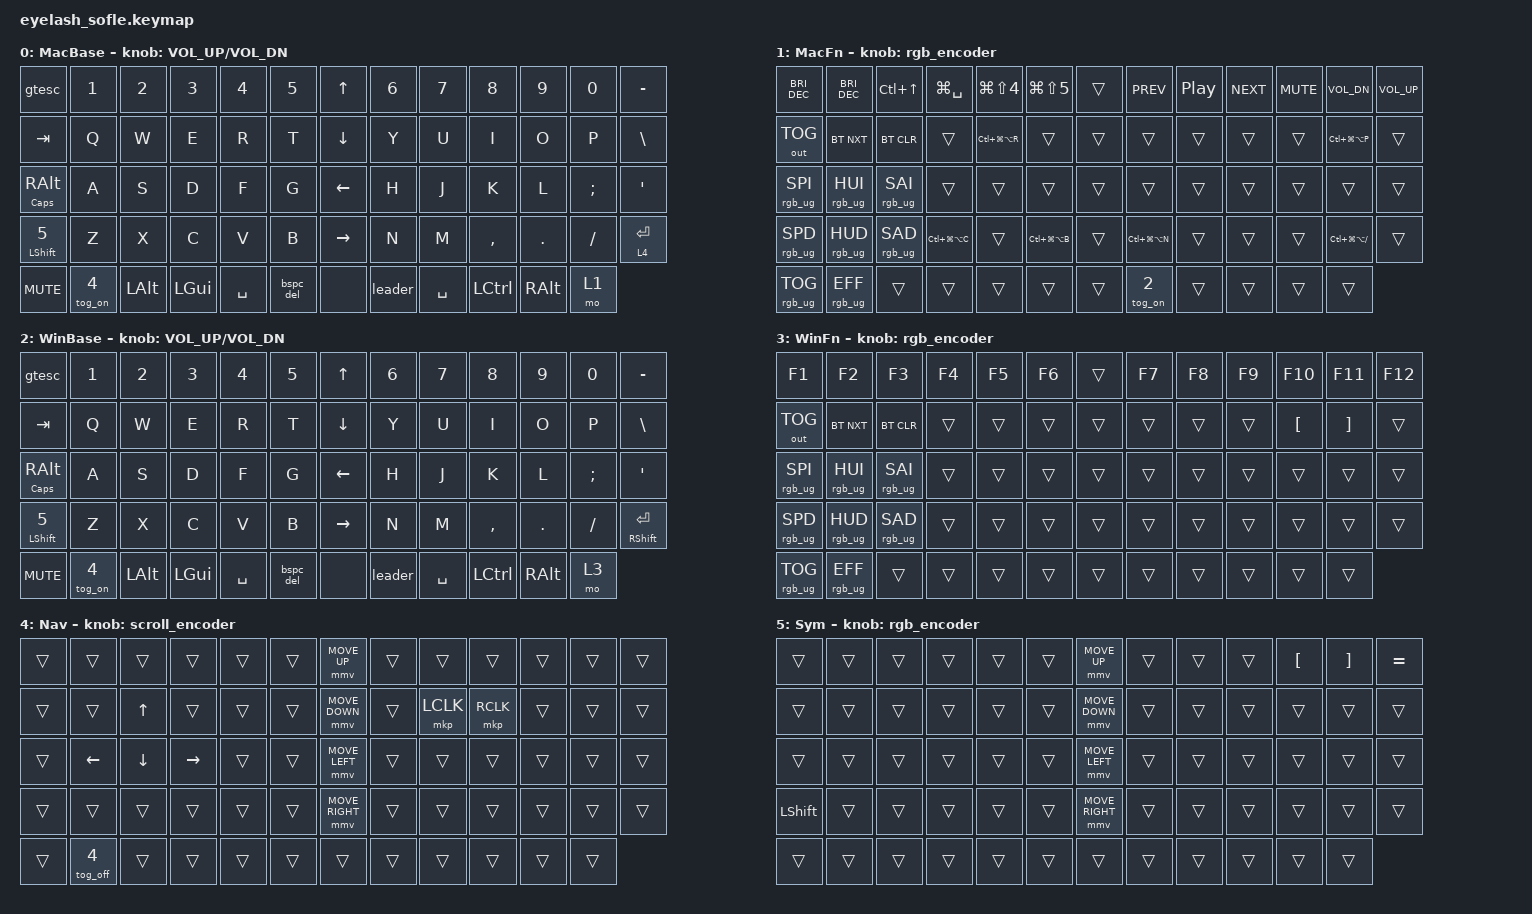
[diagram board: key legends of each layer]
#define ZMK_POINTING_DEFAULT_MOVE_VAL 1200  // 600
#define ZMK_POINTING_DEFAULT_SCRL_VAL 25   // 10

#include <input/processors.dtsi>
#include <zephyr/dt-bindings/input/input-event-codes.h>
#include <behaviors.dtsi>
#include <dt-bindings/zmk/bt.h>
#include <dt-bindings/zmk/keys.h>
#include <dt-bindings/zmk/rgb.h>
#include <dt-bindings/zmk/pointing.h>
#include <dt-bindings/zmk/outputs.h>

#define AS(keycode) &as LS(keycode) keycode     // Autoshift Macro

&mmv_input_listener { input-processors = <&zip_xy_scaler 2 1>; };

&msc_input_listener { input-processors = <&zip_scroll_scaler 2 1>; };

&msc {
    acceleration-exponent = <1>;      // 0
    time-to-max-speed-ms = <100>;       // 300
    delay-ms = <0>;                   // 0
};

&mmv {
    time-to-max-speed-ms = <1000>;
    acceleration-exponent = <1>;
    trigger-period-ms = <16>;
};

/ {
    scroll_encoder: scroll_encoder {
        compatible = "zmk,behavior-sensor-rotate";
        #sensor-binding-cells = <0>;
        bindings = <&msc SCRL_DOWN>, <&msc SCRL_UP>;
        tap-ms = <100>;
    };

    rgb_encoder: rgb_encoder {
            compatible = "zmk,behavior-sensor-rotate";
            #sensor-binding-cells = <0>;
            bindings = <&rgb_ug RGB_BRI>, <&rgb_ug RGB_BRD>;
    };

    macros {
        leader: snippet_leader {
            compatible = "zmk,behavior-macro";
            #binding-cells = <0>;
            tap-ms = <1>;
            wait-ms = <1>;
            bindings = <&macro_tap &kp LC(LG(LA(SPACE))) &kp LC(LG(LS(RBKT)))>;
        };
        leader_alt: snippet_leader_alternative {
            compatible = "zmk,behavior-macro";
            #binding-cells = <0>;
            tap-ms = <1>;
            wait-ms = <1>;
            bindings = <&macro_tap &kp LC(LG(LA(SPACE))) &kp LC(LG(LS(LA(RBKT))))>;
        };
    };

    combos {
        compatible = "zmk,combos";
        combo_enter {
            timeout-ms = <200>;
            key-positions = <56 60>;
            bindings = <&kp ENTER>;
        };
        combo_leader_alternative {
            timeout-ms = <200>;
            key-positions = <57 59>;
            bindings = <&leader_alt>;
        };
        combo_vivaldi {
            timeout-ms = <150>;
            key-positions = <62 63>;
            bindings = <&kp LG(LALT)>;
        };
        combo_left_rectangle {
            timeout-ms = <150>;
            key-positions = <53 54>;
            bindings = <&kp LC(LALT)>;
        };
        combo_lbkt {
            timeout-ms = <150>;
            key-positions = <9 10>;
            bindings = <&kp LBKT>;
        };
        combo_win {
            timeout-ms = <150>;
            key-positions = <53 63>;
            bindings = <&tog_on 2>;
            layers = <0>;
        };
        combo_mac {
            timeout-ms = <150>;
            key-positions = <53 63>;
            bindings = <&tog_off 2>;
            layers = <2>;
        };
    };

    behaviors {
        as: auto_shift {
            compatible = "zmk,behavior-hold-tap";
            #binding-cells = <2>;
            tapping_term_ms = <275>;
            quick_tap_ms = <0>;
            flavor = "tap-preferred";
            bindings = <&kp>, <&kp>;
        };

        mta: mod_tap_alternative {
            compatible = "zmk,behavior-hold-tap";
            #binding-cells = <2>;
            tapping_term_ms = <250>;
            quick_tap_ms = <0>;
            flavor = "tap-preferred";
            bindings = <&kp>, <&kp>;
        };

        lta: layer_tap_alternative {
            compatible = "zmk,behavior-hold-tap";
            #binding-cells = <2>;
            flavor = "hold-preferred";
            tapping-term-ms = <200>;
            bindings = <&mo>, <&kp>;
            display-name = "Layer-Tap-Alt";
        };

        lts: layer_tap_sticky {
            compatible = "zmk,behavior-hold-tap";
            #binding-cells = <2>;
            flavor = "hold-preferred";
            tapping-term-ms = <200>;
            bindings = <&kp>, <&slq>;
            display-name = "Layer-Tap";
        };

        slq: sticky_layer_non_quick_release {
            compatible = "zmk,behavior-sticky-key";
            #binding-cells = <1>;
            bindings = <&mo>;
            release-after-ms = <1000>;
            ignore-modifiers;
          };

        gtesc: grave_tilde_escape {
            compatible = "zmk,behavior-mod-morph";
            #binding-cells = <0>;
            bindings = <&kp ESC>, <&kp GRAVE>;
            mods = <(MOD_LGUI|MOD_LALT|MOD_LSFT|MOD_RGUI|MOD_RALT|MOD_RSFT)>;
            keep-mods = <(MOD_LSFT|MOD_RSFT)>;
        };

        bspc_del: backspace_delete {
            compatible = "zmk,behavior-mod-morph";
            #binding-cells = <0>;
            bindings = <&kp BACKSPACE>, <&kp DELETE>;
            mods = <(MOD_LALT|MOD_LSFT|MOD_RALT|MOD_RSFT)>;
        };

        tog_on: toggle_layer_on_only {
            compatible = "zmk,behavior-toggle-layer";
            #binding-cells = <1>;
            display-name = "Toggle Layer On";
            toggle-mode = "on";
        };

        tog_off: toggle_layer_off_only {
            compatible = "zmk,behavior-toggle-layer";
            #binding-cells = <1>;
            display-name = "Toggle Layer Off";
            toggle-mode = "off";
        };
    };

    keymap {
        compatible = "zmk,keymap";

        MacBase {
            bindings = <
&gtesc          &kp N1     &kp N2        &kp N3        &kp N4     &kp N5     &kp UP_ARROW     &kp N6   &kp N7     &kp N8     &kp N9    &kp N0    &kp MINUS
&kp TAB         &kp Q      &kp W         &kp E         &kp R      &kp T      &kp DOWN_ARROW   &kp Y    &kp U      &kp I      &kp O     &kp P     &kp BACKSLASH
&mta CAPS RALT  &kp A      &kp S         &kp D         &kp F      &kp G      &kp LEFT_ARROW   &kp H    &kp J      &kp K      &kp L     &kp SEMI  &kp APOS
&lts LSHFT 5    &kp Z      &kp X         &kp C         &kp V      &kp B      &kp RIGHT_ARROW  &kp N    &kp M      &kp COMMA  &kp DOT   &kp FSLH  &lta 4 ENTER
&kp C_MUTE      &tog_on 4  &kp LEFT_ALT  &kp LEFT_GUI  &kp SPACE  &bspc_del  &none            &leader  &kp SPACE  &kp LCTRL  &kp RALT  &mo 1
            >;

            sensor-bindings = <&inc_dec_kp C_VOLUME_UP C_VOL_DN>;
            display-name = "MacBase";
        };

        MacFn {
            bindings = <
&kp C_BRI_DEC    &kp C_BRI_DEC    &kp LC(UP)       &kp LG(SPACE)      &kp LG(LS(N4))     &kp LG(LS(N5))     &trans  &kp C_PREV         &kp C_PP  &kp C_NEXT  &kp C_MUTE  &kp C_VOL_DN          &kp C_VOL_UP
&out OUT_TOG     &bt BT_NXT       &bt BT_CLR       &trans             &kp LC(LG(LA(R)))  &trans             &trans  &trans             &trans    &trans      &trans      &kp LC(LG(LA(P)))     &trans
&rgb_ug RGB_SPI  &rgb_ug RGB_HUI  &rgb_ug RGB_SAI  &trans             &trans             &trans             &trans  &trans             &trans    &trans      &trans      &trans                &trans
&rgb_ug RGB_SPD  &rgb_ug RGB_HUD  &rgb_ug RGB_SAD  &kp LC(LG(LA(C)))  &trans             &kp LC(LG(LA(B)))  &trans  &kp LC(LG(LA(N)))  &trans    &trans      &trans      &kp LC(LG(LA(FSLH)))  &trans
&rgb_ug RGB_TOG  &rgb_ug RGB_EFF  &trans           &trans             &trans             &trans             &trans  &tog_on 2          &trans    &trans      &trans      &trans
            >;
            sensor-bindings = <&rgb_encoder>;
            display-name = "MacFn";
        };

        WinBase {
            bindings = <
&gtesc          &kp N1     &kp N2        &kp N3        &kp N4     &kp N5     &kp UP_ARROW     &kp N6   &kp N7     &kp N8     &kp N9    &kp N0    &kp MINUS
&kp TAB         &kp Q      &kp W         &kp E         &kp R      &kp T      &kp DOWN_ARROW   &kp Y    &kp U      &kp I      &kp O     &kp P     &kp BACKSLASH
&mta CAPS RALT  &kp A      &kp S         &kp D         &kp F      &kp G      &kp LEFT_ARROW   &kp H    &kp J      &kp K      &kp L     &kp SEMI  &kp APOS
&lts LSHFT 5    &kp Z      &kp X         &kp C         &kp V      &kp B      &kp RIGHT_ARROW  &kp N    &kp M      &kp COMMA  &kp DOT   &kp FSLH  &mt RSHFT ENTER
&kp C_MUTE      &tog_on 4  &kp LEFT_ALT  &kp LEFT_GUI  &kp SPACE  &bspc_del  &none            &leader  &kp SPACE  &kp LCTRL  &kp RALT  &mo 3
            >;

            sensor-bindings = <&inc_dec_kp C_VOLUME_UP C_VOL_DN>;
            display-name = "WinBase";
        };

        WinFn {
            bindings = <
&kp F1           &kp F2           &kp F3           &kp F4  &kp F5  &kp F6  &trans  &kp F7  &kp F8  &kp F9  &kp F10   &kp F11   &kp F12
&out OUT_TOG     &bt BT_NXT       &bt BT_CLR       &trans  &trans  &trans  &trans  &trans  &trans  &trans  &kp LBKT  &kp RBKT  &trans
&rgb_ug RGB_SPI  &rgb_ug RGB_HUI  &rgb_ug RGB_SAI  &trans  &trans  &trans  &trans  &trans  &trans  &trans  &trans    &trans    &trans
&rgb_ug RGB_SPD  &rgb_ug RGB_HUD  &rgb_ug RGB_SAD  &trans  &trans  &trans  &trans  &trans  &trans  &trans  &trans    &trans    &trans
&rgb_ug RGB_TOG  &rgb_ug RGB_EFF  &trans           &trans  &trans  &trans  &trans  &trans  &trans  &trans  &trans    &trans
            >;
            sensor-bindings = <&rgb_encoder>;
            display-name = "WinFn";
        };

        Navigation {
            bindings = <
&trans  &trans          &trans          &trans           &trans  &trans  &mmv MOVE_UP     &trans  &trans     &trans     &trans  &trans  &trans
&trans  &trans          &kp UP_ARROW    &trans           &trans  &trans  &mmv MOVE_DOWN   &trans  &mkp LCLK  &mkp RCLK  &trans  &trans  &trans
&trans  &kp LEFT_ARROW  &kp DOWN_ARROW  &kp RIGHT_ARROW  &trans  &trans  &mmv MOVE_LEFT   &trans  &trans     &trans     &trans  &trans  &trans
&trans  &trans          &trans          &trans           &trans  &trans  &mmv MOVE_RIGHT  &trans  &trans     &trans     &trans  &trans  &trans
&trans  &tog_off 4      &trans          &trans           &trans  &trans  &trans           &trans  &trans     &trans     &trans  &trans 
            >;

            label = "Nav";
            sensor-bindings = <&scroll_encoder>;
        };

        Symbol {
            bindings = <
&trans     &trans  &trans  &trans  &trans  &trans  &mmv MOVE_UP     &trans  &trans  &trans  &kp LBKT  &kp RBKT  &kp EQUAL
&trans     &trans  &trans  &trans  &trans  &trans  &mmv MOVE_DOWN   &trans  &trans  &trans  &trans    &trans    &trans
&trans     &trans  &trans  &trans  &trans  &trans  &mmv MOVE_LEFT   &trans  &trans  &trans  &trans    &trans    &trans
&kp LSHFT  &trans  &trans  &trans  &trans  &trans  &mmv MOVE_RIGHT  &trans  &trans  &trans  &trans    &trans    &trans
&trans     &trans  &trans  &trans  &trans  &trans  &trans           &trans  &trans  &trans  &trans    &trans 
            >;

            label = "Sym";
            sensor-bindings = <&rgb_encoder>;
        };
    };
};
